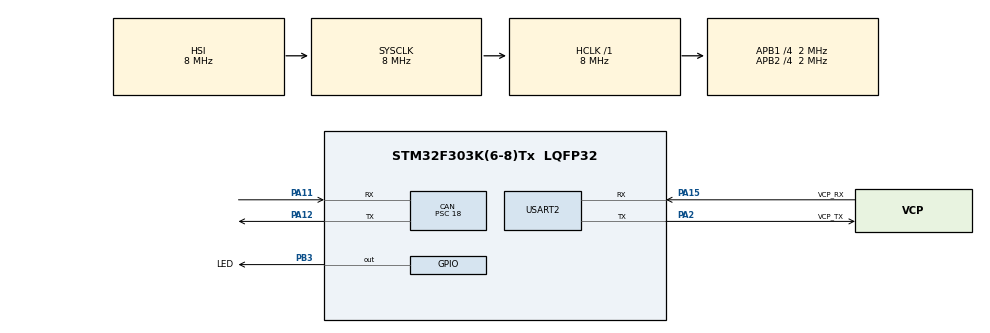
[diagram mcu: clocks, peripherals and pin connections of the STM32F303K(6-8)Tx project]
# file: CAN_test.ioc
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CAN.BS1=CAN_BS1_2TQ
CAN.CalculateBaudRate=27777
CAN.CalculateTimeBit=36000
CAN.CalculateTimeQuantum=9000.0
CAN.Prescaler=18
Mcu.Family=STM32F3
Mcu.Name=STM32F303K(6-8)Tx
Mcu.Package=LQFP32
NVIC.PriorityGroup=NVIC_PRIORITYGROUP_4
PA11.GPIO_PuPd=GPIO_PULLUP
PA11.Mode=CAN_Activate
PA11.Signal=CAN_RX
PA12.Mode=CAN_Activate
PA12.Signal=CAN_TX
PA13.GPIO_Label=SWDIO
PA13.Mode=Serial_Wire
PA13.Signal=SYS_JTMS-SWDIO
PA14.GPIO_Label=SWCLK
PA14.Mode=Serial_Wire
PA14.Signal=SYS_JTCK-SWCLK
PA15.GPIO_Label=VCP_RX
PA15.Mode=Asynchronous
PA15.Signal=USART2_RX
PA2.GPIO_Label=VCP_TX
PA2.Mode=Asynchronous
PA2.Signal=USART2_TX
PB3.GPIO_Label=LED
PB3.Signal=GPIO_Output
PF0\ /\ OSC_IN.GPIO_Label=MCO
PF0\ /\ OSC_IN.Mode=HSE-External-Clock-Source
PF0\ /\ OSC_IN.Signal=RCC_OSC_IN
ProjectManager.HeapSize=0x200
ProjectManager.StackSize=0x400
ProjectManager.TargetToolchain=STM32CubeIDE
RCC.AHBFreq_Value=8000000
RCC.APB1CLKDivider=RCC_HCLK_DIV4
RCC.APB1Freq_Value=2000000
RCC.APB1TimFreq_Value=4000000
RCC.APB2CLKDivider=RCC_HCLK_DIV4
RCC.APB2Freq_Value=2000000
RCC.APB2TimFreq_Value=4000000
RCC.CortexFreq_Value=8000000
RCC.HCLKFreq_Value=8000000
RCC.HSE_VALUE=8000000
RCC.HSI_VALUE=8000000
RCC.PLLSourceVirtual=RCC_PLLSOURCE_HSE
RCC.SYSCLKFreq_VALUE=8000000
USART2.VirtualMode-Asynchronous=VM_ASYNC
board=NUCLEO-F303K8

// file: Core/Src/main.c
/* USER CODE BEGIN Header */
/**
  ******************************************************************************
  * @file           : main.c
  * @brief          : Main program body
  ******************************************************************************
  * @attention
  *
  * Copyright (c) 2024 STMicroelectronics.
  * All rights reserved.
  *
  * This software is licensed under terms that can be found in the LICENSE file
  * in the root directory of this software component.
  * If no LICENSE file comes with this software, it is provided AS-IS.
  *
  ******************************************************************************
  */
/* USER CODE END Header */
#include "main.h"

/* USER CODE BEGIN Includes */
#include "string.h"
#include "stdio.h"
/* USER CODE END Includes */

CAN_HandleTypeDef hcan;

UART_HandleTypeDef huart2;

void SystemClock_Config(void);
static void MX_GPIO_Init(void);
static void MX_USART2_UART_Init(void);
static void MX_CAN_Init(void);

/* USER CODE BEGIN 0 */
CAN_TxHeaderTypeDef   TxHeader;
uint8_t               TxData[8];
uint32_t              TxMailbox;
/* USER CODE END 0 */

int main(void)
{

  /* MCU Configuration--------------------------------------------------------*/

  /* Reset of all peripherals, Initializes the Flash interface and the Systick. */
  HAL_Init();

  /* Configure the system clock */
  SystemClock_Config();

  /* Initialize all configured peripherals */
  MX_GPIO_Init();
  MX_USART2_UART_Init();
  MX_CAN_Init();
  /* USER CODE BEGIN 2 */
  TxHeader.IDE = CAN_ID_STD;
  TxHeader.StdId = 0x446;
  TxHeader.RTR = CAN_RTR_DATA;
  TxHeader.DLC = 2;

  TxData[0] = 50;
  TxData[1] = 0xAA;
  /* USER CODE END 2 */

  /* Infinite loop */
  /* USER CODE BEGIN WHILE */
  while (1)
  {
	HAL_StatusTypeDef error_code = HAL_CAN_AddTxMessage(&hcan, &TxHeader, TxData, &TxMailbox);
	if (error_code == HAL_OK) {
	}
	HAL_GPIO_TogglePin(LED_GPIO_Port, LED_Pin);
	HAL_Delay(100);
    /* USER CODE END WHILE */

  }
}

void SystemClock_Config(void)
{
  RCC_OscInitTypeDef RCC_OscInitStruct = {0};
  RCC_ClkInitTypeDef RCC_ClkInitStruct = {0};

  /** Initializes the RCC Oscillators according to the specified parameters
  * in the RCC_OscInitTypeDef structure.
  */
  RCC_OscInitStruct.OscillatorType = RCC_OSCILLATORTYPE_HSI;
  RCC_OscInitStruct.HSIState = RCC_HSI_ON;
  RCC_OscInitStruct.HSICalibrationValue = RCC_HSICALIBRATION_DEFAULT;
  RCC_OscInitStruct.PLL.PLLState = RCC_PLL_NONE;
  if (HAL_RCC_OscConfig(&RCC_OscInitStruct) != HAL_OK)
  {
    Error_Handler();
  }

  /** Initializes the CPU, AHB and APB buses clocks
  */
  RCC_ClkInitStruct.ClockType = RCC_CLOCKTYPE_HCLK|RCC_CLOCKTYPE_SYSCLK
                              |RCC_CLOCKTYPE_PCLK1|RCC_CLOCKTYPE_PCLK2;
  RCC_ClkInitStruct.SYSCLKSource = RCC_SYSCLKSOURCE_HSI;
  RCC_ClkInitStruct.AHBCLKDivider = RCC_SYSCLK_DIV1;
  RCC_ClkInitStruct.APB1CLKDivider = RCC_HCLK_DIV4;
  RCC_ClkInitStruct.APB2CLKDivider = RCC_HCLK_DIV4;

  if (HAL_RCC_ClockConfig(&RCC_ClkInitStruct, FLASH_LATENCY_0) != HAL_OK)
  {
    Error_Handler();
  }
}

static void MX_CAN_Init(void)
{

  hcan.Instance = CAN;
  hcan.Init.Prescaler = 18;
  hcan.Init.Mode = CAN_MODE_NORMAL;
  hcan.Init.SyncJumpWidth = CAN_SJW_1TQ;
  hcan.Init.TimeSeg1 = CAN_BS1_2TQ;
  hcan.Init.TimeSeg2 = CAN_BS2_1TQ;
  hcan.Init.TimeTriggeredMode = DISABLE;
  hcan.Init.AutoBusOff = DISABLE;
  hcan.Init.AutoWakeUp = DISABLE;
  hcan.Init.AutoRetransmission = DISABLE;
  hcan.Init.ReceiveFifoLocked = DISABLE;
  hcan.Init.TransmitFifoPriority = DISABLE;
  if (HAL_CAN_Init(&hcan) != HAL_OK)
  {
    Error_Handler();
  }

}

static void MX_USART2_UART_Init(void)
{

  huart2.Instance = USART2;
  huart2.Init.BaudRate = 38400;
  huart2.Init.WordLength = UART_WORDLENGTH_8B;
  huart2.Init.StopBits = UART_STOPBITS_1;
  huart2.Init.Parity = UART_PARITY_NONE;
  huart2.Init.Mode = UART_MODE_TX_RX;
  huart2.Init.HwFlowCtl = UART_HWCONTROL_NONE;
  huart2.Init.OverSampling = UART_OVERSAMPLING_16;
  huart2.Init.OneBitSampling = UART_ONE_BIT_SAMPLE_DISABLE;
  huart2.AdvancedInit.AdvFeatureInit = UART_ADVFEATURE_NO_INIT;
  if (HAL_UART_Init(&huart2) != HAL_OK)
  {
    Error_Handler();
  }

}

static void MX_GPIO_Init(void)
{
  GPIO_InitTypeDef GPIO_InitStruct = {0};

  /* GPIO Ports Clock Enable */
  __HAL_RCC_GPIOF_CLK_ENABLE();
  __HAL_RCC_GPIOA_CLK_ENABLE();
  __HAL_RCC_GPIOB_CLK_ENABLE();

  /*Configure GPIO pin Output Level */
  HAL_GPIO_WritePin(LED_GPIO_Port, LED_Pin, GPIO_PIN_RESET);

  /*Configure GPIO pin : LED_Pin */
  GPIO_InitStruct.Pin = LED_Pin;
  GPIO_InitStruct.Mode = GPIO_MODE_OUTPUT_PP;
  GPIO_InitStruct.Pull = GPIO_NOPULL;
  GPIO_InitStruct.Speed = GPIO_SPEED_FREQ_LOW;
  HAL_GPIO_Init(LED_GPIO_Port, &GPIO_InitStruct);

}

void Error_Handler(void)
{
  __disable_irq();
  while (1)
  {
  }
}
